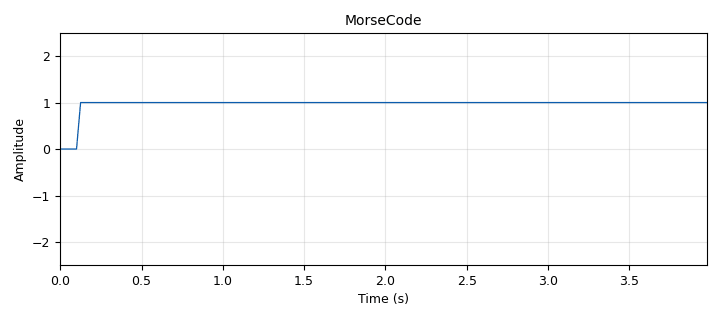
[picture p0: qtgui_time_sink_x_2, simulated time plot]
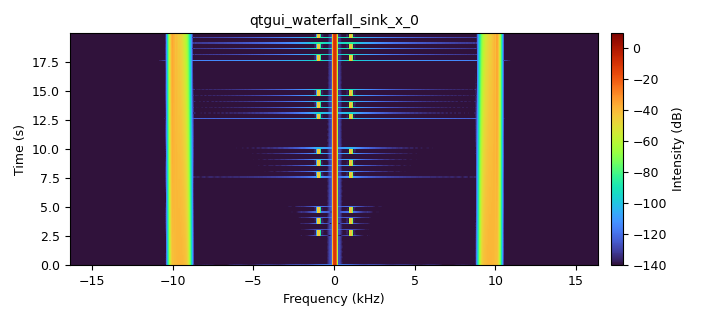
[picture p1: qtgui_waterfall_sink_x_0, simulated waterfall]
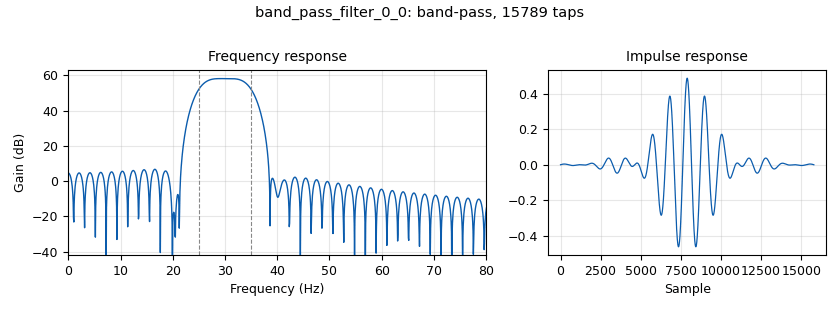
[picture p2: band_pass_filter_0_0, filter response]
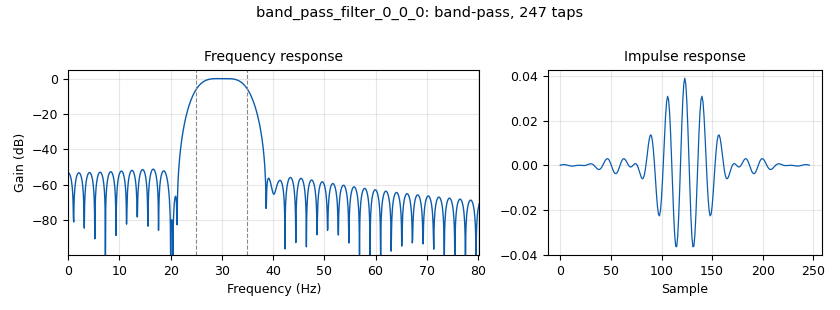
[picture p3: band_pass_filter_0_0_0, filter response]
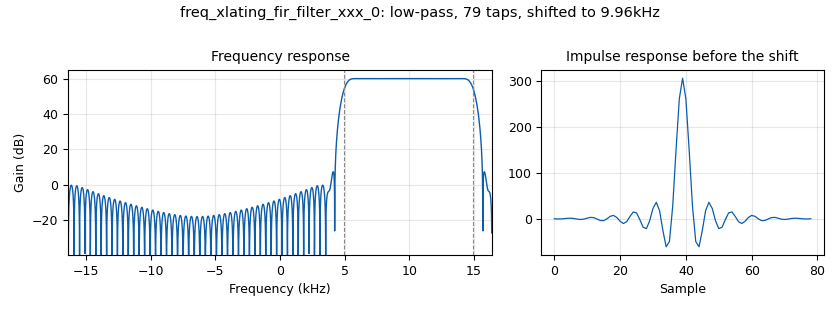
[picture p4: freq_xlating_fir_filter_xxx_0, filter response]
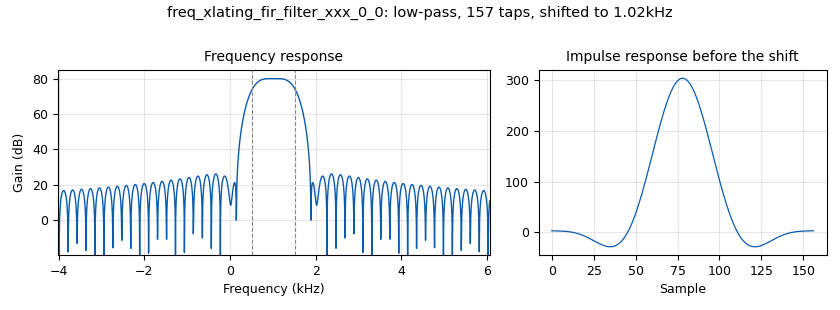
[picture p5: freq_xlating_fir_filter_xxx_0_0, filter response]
options:
  parameters:
    author: Torsten Jaekel
    copyright: free (2023)
    description: Airplane VOR (CDI) simulator
    generate_options: qt_gui
    id: title
    output_language: python
    title: VOR Simulator
  states: {}

blocks:
- name: DELAY
  id: variable_qtgui_range
  parameters:
    label: Bearing (0...180deg)
    start: '0'
    step: '1'
    stop: '180'
    value: '0'
  states: {}
- name: INVERT
  id: variable_qtgui_check_box
  parameters:
    'false': '-1'
    label: 0 [FROM] - or 180 [TO]
    'true': '1'
    type: int
    value: '1'
  states: {}
- name: RX_Delay
  id: variable_qtgui_range
  parameters:
    start: '0'
    step: '1'
    stop: '100'
    value: '51'
  states: {}
- name: am_demod_lowpass_cutoff
  id: variable
  parameters:
    value: '500'
  states: {}
- name: am_demod_lowpass_width
  id: variable
  parameters:
    value: '400'
  states: {}
- name: fm_demod_samp_rate
  id: variable
  parameters:
    value: 2**12
  states: {}
- name: fm_lowpass_cutoff
  id: variable
  parameters:
    value: '5000'
  states: {}
- name: fm_lowpass_width
  id: variable
  parameters:
    value: '1000'
  states: {}
- name: fm_ref_deviation
  id: variable
  parameters:
    value: '480'
  states: {}
- name: fm_ref_freq
  id: variable
  parameters:
    value: '9960'
  states: {}
- name: ident_freq
  id: variable
  parameters:
    value: '1020'
  states: {}
- name: pll_bandwidth
  id: variable
  parameters:
    value: (1.5 * math.pi)/200
  states: {}
- name: pll_tracking_range
  id: variable
  parameters:
    value: '100'
  states: {}
- name: samp_rate
  id: variable
  parameters:
    value: '32768'
  states: {}
- name: tone_bandpass_width
  id: variable
  parameters:
    value: '5'
  states: {}
- name: tone_freq
  id: variable
  parameters:
    value: '30'
  states: {}
- name: tone_samp_rate
  id: variable
  parameters:
    value: 2**9
  states: {}
- name: variable_qtgui_label_0
  id: variable_qtgui_label
  parameters:
    label: VOR Simulatore (Torsten Jaekel 2023)
    type: string
    value: '2.0'
  states: {}
- name: analog_agc2_xx_0
  id: analog_agc2_xx
  parameters:
    attack_rate: '1e-1'
    decay_rate: '1e-2'
    gain: '1.0'
    max_gain: '65536'
    reference: '1.0'
    type: float
  states: {}
- name: analog_agc2_xx_0_0
  id: analog_agc2_xx
  parameters:
    attack_rate: '1e-1'
    decay_rate: '1e-2'
    gain: '1'
    max_gain: '65536'
    reference: '1.0'
    type: float
  states: {}
- name: analog_am_demod_cf_0
  id: analog_am_demod_cf
  parameters:
    audio_decim: '1'
    audio_pass: tone_freq
    audio_stop: tone_freq * 2
    chan_rate: samp_rate
  states: {}
- name: analog_const_source_x_0
  id: analog_const_source_x
  parameters:
    const: '0'
    type: float
  states: {}
- name: analog_const_source_x_0_0
  id: analog_const_source_x
  parameters:
    const: '0.8'
    type: complex
  states: {}
- name: analog_const_source_x_1
  id: analog_const_source_x
  parameters:
    comment: |-
      AM modulation carrier
      (actually 1)
    const: '0.7'
    type: float
  states: {}
- name: analog_fm_demod_cf_0
  id: analog_fm_demod_cf
  parameters:
    audio_decim: fm_demod_samp_rate // tone_samp_rate
    audio_pass: tone_freq
    audio_stop: tone_freq * 2
    chan_rate: fm_demod_samp_rate
    deviation: fm_ref_deviation
    gain: '1.0'
    tau: '0.0'
  states: {}
- name: analog_nbfm_tx_0
  id: analog_nbfm_tx
  parameters:
    audio_rate: int(samp_rate/1)
    comment: 30 Hz REF signal FM moduilator, subcarrier 9960 Hz
    fh: '-1.0'
    max_dev: '480'
    quad_rate: int(samp_rate)
    tau: '75e-6'
  states: {}
- name: analog_sig_source_x_0
  id: analog_sig_source_x
  parameters:
    amp: '1'
    freq: '1000'
    offset: '0'
    phase: '0'
    samp_rate: samp_rate
    type: float
    waveform: analog.GR_SIN_WAVE
  states: {}
- name: analog_sig_source_x_1
  id: analog_sig_source_x
  parameters:
    amp: '1'
    freq: '30'
    offset: '0'
    phase: '0'
    samp_rate: samp_rate
    type: float
    waveform: analog.GR_SIN_WAVE
  states: {}
- name: analog_sig_source_x_2
  id: analog_sig_source_x
  parameters:
    amp: '1'
    freq: '1'
    offset: '0'
    phase: '0'
    samp_rate: samp_rate
    type: float
    waveform: analog.GR_SQR_WAVE
  states: {}
- name: analog_sig_source_x_2_0
  id: analog_sig_source_x
  parameters:
    amp: '1'
    freq: '0.2'
    offset: '0'
    phase: '0'
    samp_rate: samp_rate
    type: float
    waveform: analog.GR_SQR_WAVE
  states: {}
- name: analog_sig_source_x_3
  id: analog_sig_source_x
  parameters:
    amp: '1'
    comment: |-
      FM REF signal subcarrier
      (actually 9960 Hz)
    freq: 9960-360
    offset: '0'
    phase: '0'
    samp_rate: samp_rate
    type: complex
    waveform: analog.GR_COS_WAVE
  states: {}
- name: audio_sink_0
  id: audio_sink
  parameters:
    samp_rate: samp_rate
  states: {}
- name: band_pass_filter_0_0
  id: band_pass_filter
  parameters:
    decim: samp_rate // tone_samp_rate
    gain: '800'
    high_cutoff_freq: tone_freq + tone_bandpass_width
    low_cutoff_freq: tone_freq - tone_bandpass_width
    samp_rate: samp_rate
    type: fir_filter_fff
    width: tone_bandpass_width
    win: window.WIN_HAMMING
  states: {}
- name: band_pass_filter_0_0_0
  id: band_pass_filter
  parameters:
    decim: '1'
    gain: '1'
    high_cutoff_freq: tone_freq + tone_bandpass_width
    low_cutoff_freq: tone_freq - tone_bandpass_width
    samp_rate: tone_samp_rate
    type: fir_filter_fff
    width: tone_bandpass_width
    win: window.WIN_HAMMING
  states: {}
- name: baseband_tabs
  id: qtgui_tab_widget
  parameters:
    gui_hint: monitoring_tabs@0
    label0: Spectrum
    label1: Waterfall
    num_tabs: '2'
  states: {}
- name: blocks_abs_xx_0
  id: blocks_abs_xx
  parameters:
    type: float
  states: {}
- name: blocks_add_xx_0
  id: blocks_add_xx
  parameters:
    comment: AM modulation
    num_inputs: '4'
    type: float
  states: {}
- name: blocks_complex_to_arg_0
  id: blocks_complex_to_arg
  parameters: {}
  states: {}
- name: blocks_complex_to_arg_0_0
  id: blocks_complex_to_arg
  parameters: {}
  states: {}
- name: blocks_complex_to_float_2
  id: blocks_complex_to_float
  parameters: {}
  states: {}
- name: blocks_complex_to_mag_squared_0
  id: blocks_complex_to_mag_squared
  parameters: {}
  states: {}
- name: blocks_delay_0
  id: blocks_delay
  parameters:
    delay: int(DELAY)
    type: float
  states: {}
- name: blocks_delay_0_0
  id: blocks_delay
  parameters:
    delay: RX_Delay
    type: complex
  states: {}
- name: blocks_float_to_complex_0
  id: blocks_float_to_complex
  parameters: {}
  states: {}
- name: blocks_keep_one_in_n_0
  id: blocks_keep_one_in_n
  parameters:
    n: tone_samp_rate
    type: complex
  states: {}
- name: blocks_keep_one_in_n_0_0
  id: blocks_keep_one_in_n
  parameters:
    n: tone_samp_rate
    type: complex
  states: {}
- name: blocks_multiply_const_vxx_0
  id: blocks_multiply_const_vxx
  parameters:
    comment: |-
      VAR signal: 30 Hz AM modulated
      (Conventional VOR, CVOR),
      with phase for Bearing
    const: '0.3'
    type: float
  states: {}
- name: blocks_multiply_const_vxx_0_0
  id: blocks_multiply_const_vxx
  parameters:
    const: '1000'
    type: float
  states: {}
- name: blocks_multiply_const_vxx_1
  id: blocks_multiply_const_vxx
  parameters:
    const: '180'
    type: float
  states: {}
- name: blocks_multiply_const_vxx_2
  id: blocks_multiply_const_vxx
  parameters:
    const: '0.3'
    type: complex
  states: {}
- name: blocks_multiply_const_vxx_3
  id: blocks_multiply_const_vxx
  parameters:
    comment: Morse code (ID)
    const: '0.05'
    type: float
  states: {}
- name: blocks_multiply_const_xx_0
  id: blocks_multiply_const_xx
  parameters:
    comment: 0 or 180deg phase invertion (TO/FROM)
    const: INVERT
    type: float
  states: {}
- name: blocks_multiply_xx_0
  id: blocks_multiply_xx
  parameters:
    type: complex
  states: {}
- name: blocks_multiply_xx_1
  id: blocks_multiply_xx
  parameters:
    comment: |-
      Morse Code (ID) generator
      ("T T T")
    num_inputs: '3'
    type: float
  states: {}
- name: blocks_multiply_xx_2
  id: blocks_multiply_xx
  parameters:
    comment: this becomes your SDR Rx source
    type: complex
  states: {}
- name: blocks_skiphead_0
  id: blocks_skiphead
  parameters:
    num_items: tone_freq
    type: complex
  states: {}
- name: blocks_skiphead_0_0
  id: blocks_skiphead
  parameters:
    num_items: tone_freq
    type: complex
  states: {}
- name: blocks_stream_to_vector_0
  id: blocks_stream_to_vector
  parameters:
    num_items: tone_samp_rate
    type: float
  states: {}
- name: blocks_stream_to_vector_0_0
  id: blocks_stream_to_vector
  parameters:
    num_items: tone_samp_rate
    type: float
  states: {}
- name: blocks_sub_xx_0
  id: blocks_sub_xx
  parameters:
    type: float
  states: {}
- name: blocks_threshold_ff_0
  id: blocks_threshold_ff
  parameters:
    high: '1'
    init: '0'
    low: '1'
  states: {}
- name: blocks_vector_to_stream_0
  id: blocks_vector_to_stream
  parameters:
    num_items: tone_samp_rate
    type: complex
  states: {}
- name: blocks_vector_to_stream_0_0
  id: blocks_vector_to_stream
  parameters:
    num_items: tone_samp_rate
    type: complex
  states: {}
- name: dc_blocker_xx_0
  id: dc_blocker_xx
  parameters:
    length: '32'
    long_form: 'True'
    type: ff
  states: {}
- name: dc_blocker_xx_1
  id: dc_blocker_xx
  parameters:
    length: '32'
    long_form: 'True'
    type: ff
  states: {}
- name: fft_vxx_0
  id: fft_vxx
  parameters:
    fft_size: tone_samp_rate
    forward: 'True'
    shift: 'True'
    type: float
    window: window.blackmanharris(tone_samp_rate)
  states: {}
- name: fft_vxx_0_0
  id: fft_vxx
  parameters:
    fft_size: tone_samp_rate
    forward: 'True'
    shift: 'True'
    type: float
    window: window.blackmanharris(tone_samp_rate)
  states: {}
- name: freq_xlating_fir_filter_xxx_0
  id: freq_xlating_fir_filter_xxx
  parameters:
    center_freq: fm_ref_freq
    decim: samp_rate // fm_demod_samp_rate
    samp_rate: samp_rate
    taps: firdes.low_pass(1000, samp_rate, fm_lowpass_cutoff, fm_lowpass_width)
    type: ccf
  states: {}
- name: freq_xlating_fir_filter_xxx_0_0
  id: freq_xlating_fir_filter_xxx
  parameters:
    center_freq: ident_freq
    decim: samp_rate // 2**10
    samp_rate: samp_rate
    taps: firdes.low_pass(10000, samp_rate, 500, 500)
    type: ccf
  states: {}
- name: import_0
  id: import
  parameters:
    imports: import math
  states: {}
- name: low_pass_filter_0
  id: low_pass_filter
  parameters:
    comment: remove modulation artefacts
    cutoff_freq: 10e3
    decim: '1'
    gain: '1'
    samp_rate: samp_rate
    type: fir_filter_ccf
    width: 2e3
    win: window.WIN_HAMMING
  states: {}
- name: low_pass_filter_0_0
  id: low_pass_filter
  parameters:
    cutoff_freq: am_demod_lowpass_cutoff
    decim: '1'
    gain: '1'
    samp_rate: samp_rate
    type: fir_filter_ccf
    width: am_demod_lowpass_width
    win: window.WIN_HAMMING
  states: {}
- name: low_pass_filter_1
  id: low_pass_filter
  parameters:
    cutoff_freq: '16'
    decim: '1'
    gain: '1'
    samp_rate: samp_rate
    type: fir_filter_ccf
    width: '16'
    win: window.WIN_HAMMING
  states: {}
- name: monitoring_tabs
  id: qtgui_tab_widget
  parameters:
    label0: Baseband
    label1: Ident Signal
    label2: Phase Compare
    label3: Scratch
    num_tabs: '4'
  states: {}
- name: osmosdr_sink_0
  id: osmosdr_sink
  parameters:
    bb_gain0: '20'
    comment: HackRF One as transmitter, use ELB VOR frequency
    freq0: 117.2e6
    gain0: '10'
    if_gain0: '20'
    sample_rate: samp_rate
    sync: pc_clock
    type: fc32
  states: {state: disabled}
- name: qtgui_number_sink_0
  id: qtgui_number_sink
  parameters:
    graph_type: qtgui.NUM_GRAPH_HORIZ
    label1: Radial
    max: '180'
    min: '0'
    name: Bearing
    type: float
    unit1: degrees
  states: {}
- name: qtgui_time_sink_x_2
  id: qtgui_time_sink_x
  parameters:
    gui_hint: monitoring_tabs@1
    label1: ''
    name: MorseCode
    size: 40 * 4
    srate: '40'
    tr_delay: '0.1'
    tr_level: '0.1'
    tr_mode: qtgui.TRIG_MODE_AUTO
    type: float
    ymax: '2.5'
    ymin: '-2.5'
  states: {}
- name: qtgui_waterfall_sink_x_0
  id: qtgui_waterfall_sink_x
  parameters:
    bw: samp_rate
    fc: '0'
    fftsize: '1024'
    type: complex
  states: {}
- name: utility
  id: epy_module
  parameters:
    source_code: |
      # this module will be imported in the into your flowgraph
      import math

      def hz_to_rad_per_sample(f_hz, sample_rate):
          return f_hz * ((2 * math.pi) / sample_rate)
  states: {}
- name: virtual_sink_0
  id: virtual_sink
  parameters:
    stream_id: variable_signal
  states: {}
- name: virtual_sink_1_0
  id: virtual_sink
  parameters:
    stream_id: reference_signal
  states: {}
- name: virtual_source_0_0_0_0_0
  id: virtual_source
  parameters:
    stream_id: reference_signal
  states: {}
- name: virtual_source_0_0_0_1
  id: virtual_source
  parameters:
    stream_id: variable_signal
  states: {}

connections:
- [analog_agc2_xx_0, '0', virtual_sink_0, '0']
- [analog_agc2_xx_0_0, '0', virtual_sink_1_0, '0']
- [analog_am_demod_cf_0, '0', band_pass_filter_0_0, '0']
- [analog_const_source_x_0, '0', blocks_float_to_complex_0, '1']
- [analog_const_source_x_0_0, '0', blocks_multiply_xx_2, '1']
- [analog_const_source_x_1, '0', blocks_add_xx_0, '1']
- [analog_fm_demod_cf_0, '0', band_pass_filter_0_0_0, '0']
- [analog_nbfm_tx_0, '0', blocks_multiply_xx_0, '0']
- [analog_sig_source_x_0, '0', blocks_multiply_xx_1, '2']
- [analog_sig_source_x_1, '0', blocks_delay_0, '0']
- [analog_sig_source_x_1, '0', blocks_multiply_const_xx_0, '0']
- [analog_sig_source_x_2, '0', blocks_multiply_xx_1, '1']
- [analog_sig_source_x_2_0, '0', blocks_multiply_xx_1, '0']
- [analog_sig_source_x_3, '0', blocks_multiply_xx_0, '1']
- [band_pass_filter_0_0, '0', dc_blocker_xx_0, '0']
- [band_pass_filter_0_0_0, '0', dc_blocker_xx_1, '0']
- [blocks_abs_xx_0, '0', blocks_multiply_const_vxx_1, '0']
- [blocks_add_xx_0, '0', blocks_float_to_complex_0, '0']
- [blocks_complex_to_arg_0, '0', blocks_sub_xx_0, '1']
- [blocks_complex_to_arg_0_0, '0', blocks_sub_xx_0, '0']
- [blocks_complex_to_float_2, '0', blocks_add_xx_0, '3']
- [blocks_complex_to_mag_squared_0, '0', blocks_multiply_const_vxx_0_0, '0']
- [blocks_delay_0, '0', blocks_multiply_const_vxx_0, '0']
- [blocks_delay_0_0, '0', low_pass_filter_0_0, '0']
- [blocks_float_to_complex_0, '0', low_pass_filter_0, '0']
- [blocks_keep_one_in_n_0, '0', blocks_complex_to_arg_0, '0']
- [blocks_keep_one_in_n_0_0, '0', blocks_complex_to_arg_0_0, '0']
- [blocks_multiply_const_vxx_0, '0', blocks_add_xx_0, '2']
- [blocks_multiply_const_vxx_0_0, '0', audio_sink_0, '0']
- [blocks_multiply_const_vxx_0_0, '0', blocks_threshold_ff_0, '0']
- [blocks_multiply_const_vxx_1, '0', qtgui_number_sink_0, '0']
- [blocks_multiply_const_vxx_2, '0', blocks_complex_to_float_2, '0']
- [blocks_multiply_const_vxx_3, '0', blocks_add_xx_0, '0']
- [blocks_multiply_const_xx_0, '0', analog_nbfm_tx_0, '0']
- [blocks_multiply_xx_0, '0', blocks_multiply_const_vxx_2, '0']
- [blocks_multiply_xx_1, '0', blocks_multiply_const_vxx_3, '0']
- [blocks_multiply_xx_2, '0', blocks_delay_0_0, '0']
- [blocks_multiply_xx_2, '0', freq_xlating_fir_filter_xxx_0, '0']
- [blocks_multiply_xx_2, '0', freq_xlating_fir_filter_xxx_0_0, '0']
- [blocks_skiphead_0, '0', blocks_keep_one_in_n_0, '0']
- [blocks_skiphead_0_0, '0', blocks_keep_one_in_n_0_0, '0']
- [blocks_stream_to_vector_0, '0', fft_vxx_0, '0']
- [blocks_stream_to_vector_0_0, '0', fft_vxx_0_0, '0']
- [blocks_sub_xx_0, '0', blocks_abs_xx_0, '0']
- [blocks_threshold_ff_0, '0', qtgui_time_sink_x_2, '0']
- [blocks_vector_to_stream_0, '0', blocks_skiphead_0, '0']
- [blocks_vector_to_stream_0_0, '0', blocks_skiphead_0_0, '0']
- [dc_blocker_xx_0, '0', analog_agc2_xx_0, '0']
- [dc_blocker_xx_1, '0', analog_agc2_xx_0_0, '0']
- [fft_vxx_0, '0', blocks_vector_to_stream_0, '0']
- [fft_vxx_0_0, '0', blocks_vector_to_stream_0_0, '0']
- [freq_xlating_fir_filter_xxx_0, '0', analog_fm_demod_cf_0, '0']
- [freq_xlating_fir_filter_xxx_0_0, '0', low_pass_filter_1, '0']
- [low_pass_filter_0, '0', blocks_multiply_xx_2, '0']
- [low_pass_filter_0, '0', osmosdr_sink_0, '0']
- [low_pass_filter_0, '0', qtgui_waterfall_sink_x_0, '0']
- [low_pass_filter_0_0, '0', analog_am_demod_cf_0, '0']
- [low_pass_filter_1, '0', blocks_complex_to_mag_squared_0, '0']
- [virtual_source_0_0_0_0_0, '0', blocks_stream_to_vector_0_0, '0']
- [virtual_source_0_0_0_1, '0', blocks_stream_to_vector_0, '0']

metadata:
  file_format: 1
  grc_version: 3.10.7.0
